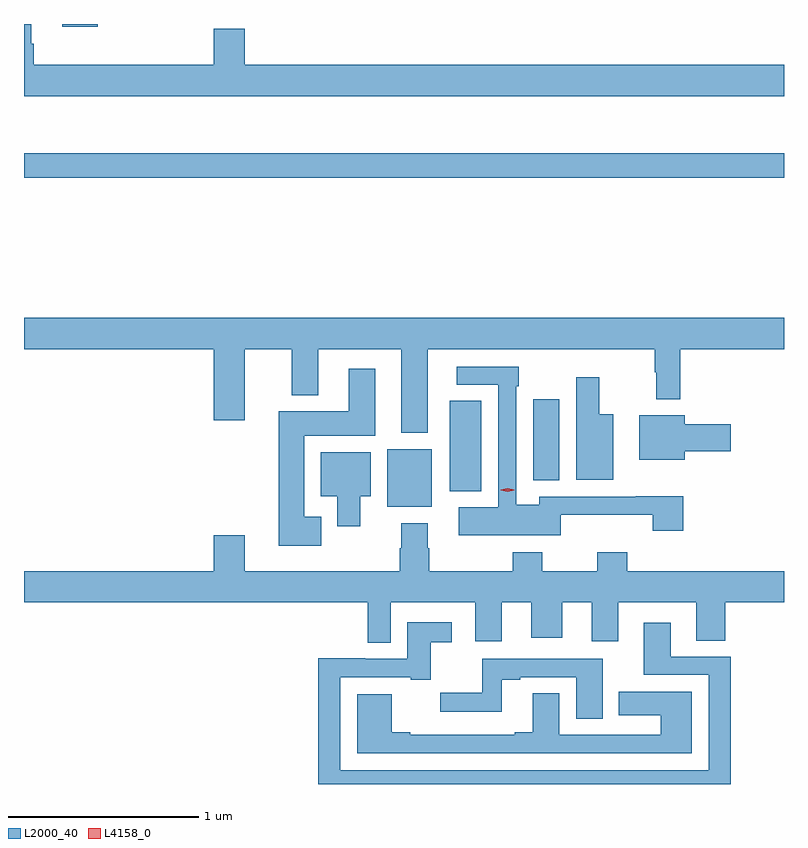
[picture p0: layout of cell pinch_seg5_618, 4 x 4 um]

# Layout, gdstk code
import gdstk
lib = gdstk.Library(unit=1e-6, precision=1e-09)
def R(c, l, rs):  # rectangles x0, y0, x1, y1
    for r in rs: c.add(gdstk.rectangle(r[:2], r[2:], *l))
def P(c, l, *ps):  # polygons
    for p in ps: c.add(gdstk.Polygon(p, *l))
L2000_40 = (2000, 40)
L4158_0 = (4158, 0)

pinch_seg5_618 = lib.new_cell('pinch_seg5_618')
R(pinch_seg5_618, L2000_40, [(1017.071,854.597,1017.304,854.902), (1017.398,854.681,1017.565,855.155), (1017.839,854.737,1017.976,855.163), (1015.158,856.33,1019.158,856.459), (1015.359,857.124,1015.547,857.139)])
P(pinch_seg5_618, L2000_40, [(1019.158,856.924),(1016.32,856.924),(1016.32,857.113),(1016.156,857.113),(1016.156,856.924),(1015.208,856.924),(1015.208,857.036),(1015.195,857.036),(1015.195,857.139),(1015.158,857.139),(1015.158,856.76),(1019.158,856.76)],
  [(1017.283,855.428),(1018.477,855.428),(1018.477,855.305),(1018.485,855.305),(1018.485,855.165),(1018.613,855.165),(1018.613,855.428),(1019.158,855.428),(1019.158,855.592),(1015.158,855.592),(1015.158,855.428),(1016.156,855.428),(1016.156,855.054),(1016.32,855.054),(1016.32,855.428),(1016.567,855.428),(1016.567,855.185),(1016.707,855.185),(1016.707,855.428),(1017.143,855.428),(1017.143,854.987),(1017.283,854.987)],
  [(1017.982,854.555),(1018.468,854.555),(1018.468,854.472),(1018.628,854.472),(1018.628,854.654),(1018.379,854.654),(1018.379,854.652),(1017.869,854.652),(1017.869,854.608),(1017.75,854.608),(1017.75,855.233),(1017.763,855.233),(1017.763,855.336),(1017.435,855.336),(1017.435,855.24),(1017.654,855.24),(1017.654,854.596),(1017.447,854.596),(1017.447,854.447),(1017.982,854.447)],
  [(1016.722,854.545),(1016.632,854.545),(1016.632,854.972),(1017.007,854.972),(1017.007,855.325),(1016.867,855.325),(1016.867,855.1),(1016.498,855.1),(1016.498,854.393),(1016.722,854.393)],
  [(1018.258,855.085),(1018.186,855.085),(1018.186,855.28),(1018.064,855.28),(1018.064,854.741),(1018.258,854.741)],
  [(1018.636,854.891),(1018.879,854.891),(1018.879,855.033),(1018.636,855.033),(1018.636,855.079),(1018.397,855.079),(1018.397,854.846),(1018.636,854.846)],
  [(1016.929,854.654),(1016.983,854.654),(1016.983,854.884),(1016.72,854.884),(1016.72,854.654),(1016.807,854.654),(1016.807,854.496),(1016.929,854.496)],
  [(1017.088,854.096),(1017.533,854.096),(1017.533,853.89),(1017.673,853.89),(1017.673,854.096),(1017.827,854.096),(1017.827,853.908),(1017.991,853.908),(1017.991,854.096),(1018.145,854.096),(1018.145,853.89),(1018.285,853.89),(1018.285,854.096),(1018.697,854.096),(1018.697,853.894),(1018.85,853.894),(1018.85,854.096),(1019.158,854.096),(1019.158,854.26),(1018.334,854.26),(1018.334,854.359),(1018.174,854.359),(1018.174,854.26),(1017.885,854.26),(1017.885,854.359),(1017.73,854.359),(1017.73,854.26),(1017.291,854.26),(1017.291,854.381),(1017.283,854.381),(1017.283,854.512),(1017.143,854.512),(1017.143,854.381),(1017.136,854.381),(1017.136,854.26),(1016.32,854.26),(1016.32,854.449),(1016.156,854.449),(1016.156,854.26),(1015.158,854.26),(1015.158,854.096),(1016.967,854.096),(1016.967,853.882),(1017.088,853.882)],
  [(1018.877,853.809),(1018.561,853.809),(1018.561,853.987),(1018.421,853.987),(1018.421,853.713),(1018.761,853.713),(1018.761,853.212),(1016.823,853.212),(1016.823,853.701),(1017.194,853.701),(1017.194,853.689),(1017.298,853.689),(1017.298,853.884),(1017.409,853.884),(1017.409,853.99),(1017.176,853.99),(1017.176,853.797),(1016.955,853.797),(1016.955,853.802),(1016.707,853.802),(1016.707,853.139),(1018.877,853.139)],
  [(1018.204,853.797),(1017.571,853.797),(1017.571,853.619),(1017.348,853.619),(1017.348,853.518),(1017.673,853.518),(1017.673,853.689),(1017.769,853.689),(1017.769,853.701),(1018.064,853.701),(1018.064,853.483),(1018.204,853.483)],
  [(1018.672,853.624),(1018.289,853.624),(1018.289,853.502),(1018.508,853.502),(1018.508,853.398),(1017.976,853.398),(1017.976,853.616),(1017.836,853.616),(1017.836,853.411),(1017.74,853.411),(1017.74,853.398),(1017.19,853.398),(1017.19,853.411),(1017.094,853.411),(1017.094,853.612),(1016.912,853.612),(1016.912,853.302),(1018.672,853.302)])
P(pinch_seg5_618, L4158_0, [(1017.703,854.676),(1017.668,854.686),(1017.668,854.686),(1017.668,854.687),(1017.703,854.696),(1017.738,854.687),(1017.738,854.686),(1017.738,854.686)])

lib.write_gds('pinch_seg5_618.gds')
